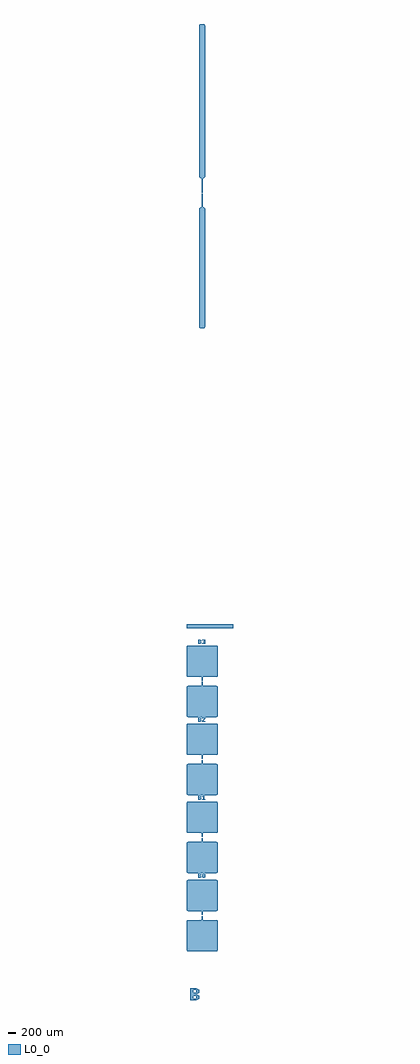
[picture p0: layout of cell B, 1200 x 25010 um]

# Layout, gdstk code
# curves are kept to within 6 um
import gdstk
lib = gdstk.Library(unit=1e-6, precision=1e-09)
def R(c, l, rs):  # rectangles x0, y0, x1, y1
    for r in rs: c.add(gdstk.rectangle(r[:2], r[2:], *l))
def P(c, l, *ps):  # polygons
    for p in ps: c.add(gdstk.Polygon(p, *l))
L0_0 = (0, 0)

c_b = lib.new_cell('B')
R(c_b, L0_0, [(400,9650,1600,9750)])
P(c_b, L0_0, [(500,120),(500,232.5),(575,232.5),(575,157.5),(650,157.5),(650,232.5),(500,232.5),(500,382.5),(575,382.5),(575,307.5),(650,307.5),(650,382.5),(500,382.5),(500,420),(650,420),(725,382.5),(725,307.5),(650,270),(725,232.5),(725,157.5),(650,120)],
  [(440,1370),(420,1375.359),(400,1410),(405.359,2150),(440,2170),(780,2171.34),(785,2270),(797.5,2270),(792.5,2260),(807.5,2260),(802.5,2270),(815,2270),(815,2180),(825,2170),(1180,2164.641),(1200,2130),(1194.641,1390),(1160,1370)],
  [(785,2300),(780,2398.66),(440,2400),(405.359,2420),(405.359,3180),(440,3200),(1180,3194.641),(1200,3160),(1194.641,2420),(1160,2400),(820,2398.66),(815,2300),(802.5,2300),(807.5,2310),(792.5,2310),(797.5,2300)],
  [(700,3250),(700,3287.5),(725,3287.5),(725,3262.5),(750,3262.5),(750,3287.5),(700,3287.5),(700,3337.5),(725,3337.5),(725,3312.5),(750,3312.5),(750,3337.5),(700,3337.5),(700,3350),(750,3350),(775,3337.5),(775,3312.5),(750,3300),(775,3287.5),(775,3262.5),(750,3250)],
  [(825,3250),(800,3262.5),(800,3337.5),(825,3337.5),(825,3268.75),(836.364,3331.25),(850,3331.25),(837.5,3262.5),(850,3262.5),(850,3331.25),(836.364,3331.25),(837.5,3337.5),(800,3337.5),(825,3350),(850,3350),(875,3337.5),(875,3262.5),(850,3250)],
  [(440,3370),(420,3375.359),(400,3410),(405.359,4150),(440,4170),(780,4171.34),(785,4270),(797.5,4270),(792.5,4260),(807.5,4260),(802.5,4270),(815,4270),(815,4180),(825,4170),(1180,4164.641),(1200,4130),(1194.641,3390),(1160,3370)],
  [(785,4300),(780,4398.66),(440,4400),(405.359,4420),(405.359,5180),(440,5200),(1180,5194.641),(1200,5160),(1194.641,4420),(1160,4400),(820,4398.66),(815,4300),(802.5,4300),(807.5,4310),(792.5,4310),(797.5,4300)],
  [(700,5250),(700,5287.5),(725,5287.5),(725,5262.5),(750,5262.5),(750,5287.5),(700,5287.5),(700,5337.5),(725,5337.5),(725,5312.5),(750,5312.5),(750,5337.5),(700,5337.5),(700,5350),(750,5350),(775,5337.5),(775,5312.5),(750,5300),(775,5287.5),(775,5262.5),(750,5250)],
  [(800,5250),(800,5262.5),(825,5262.5),(825,5325),(800,5325),(800,5337.5),(825,5350),(850,5350),(850,5262.5),(875,5262.5),(875,5250)],
  [(440,5370),(420,5375.359),(400,5410),(405.359,6150),(440,6170),(780,6171.34),(785,6270),(797.5,6270),(792.5,6260),(807.5,6260),(802.5,6270),(815,6270),(815,6180),(825,6170),(1180,6164.641),(1200,6130),(1194.641,5390),(1160,5370)],
  [(785,6300),(780,6398.66),(440,6400),(405.359,6420),(405.359,7180),(440,7200),(1180,7194.641),(1200,7160),(1194.641,6420),(1160,6400),(820,6398.66),(815,6300),(802.5,6300),(807.5,6310),(792.5,6310),(797.5,6300)],
  [(700,7250),(700,7287.5),(725,7287.5),(725,7262.5),(750,7262.5),(750,7287.5),(700,7287.5),(700,7337.5),(725,7337.5),(725,7312.5),(750,7312.5),(750,7337.5),(700,7337.5),(700,7350),(750,7350),(775,7337.5),(775,7312.5),(750,7300),(775,7287.5),(775,7262.5),(750,7250)],
  [(800,7250),(800,7275),(850,7325),(850,7337.5),(800,7337.5),(800,7350),(875,7350),(875,7325),(825,7275),(825,7262.5),(875,7262.5),(875,7250)],
  [(440,7370),(420,7375.359),(400,7410),(405.359,8150),(440,8170),(780,8171.34),(785,8270),(797.5,8270),(792.5,8260),(807.5,8260),(802.5,8270),(815,8270),(815,8180),(825,8170),(1180,8164.641),(1200,8130),(1194.641,7390),(1160,7370)],
  [(785,8300),(780,8398.66),(440,8400),(405.359,8420),(405.359,9180),(440,9200),(1180,9194.641),(1200,9160),(1194.641,8420),(1160,8400),(820,8398.66),(815,8300),(802.5,8300),(807.5,8310),(792.5,8310),(797.5,8300)],
  [(700,9250),(700,9287.5),(725,9287.5),(725,9262.5),(750,9262.5),(750,9287.5),(700,9287.5),(700,9337.5),(725,9337.5),(725,9312.5),(750,9312.5),(750,9337.5),(700,9337.5),(700,9350),(750,9350),(775,9337.5),(775,9312.5),(750,9300),(775,9287.5),(775,9262.5),(750,9250)],
  [(800,9250),(800,9262.5),(850,9262.5),(850,9293.75),(825,9293.75),(825,9306.25),(850,9306.25),(850,9337.5),(800,9337.5),(800,9350),(875,9350),(875,9250)],
  [(765,17330),(745,17335.359),(725,17370),(725,20390),(745,20424.641),(780,20431.34),(785,20440),(785,20780),(797.5,20780),(792.5,20770),(807.5,20770),(802.5,20780),(815,20780),(815,20440),(820,20431.34),(855,20424.641),(875,20390),(875,17370),(855,17335.359)],
  [(785,20810),(785,21170),(780,21178.66),(745,21185.359),(725,21220),(725,25090),(745,25124.641),(835,25130),(855,25124.641),(875,25090),(875,21220),(855,21185.359),(820,21178.66),(815,21170),(815,20810),(802.5,20810),(807.5,20820),(792.5,20820),(797.5,20810)])
c_b.add(gdstk.FlexPath([(775,2390),(775,2390)], 0, ends="flush", simple_path=True, layer=0, datatype=0))  # L0_0
c_b.add(gdstk.FlexPath([(800,5250),(800,5250)], 0, ends="flush", simple_path=True, layer=0, datatype=0))  # L0_0
c_b.add(gdstk.FlexPath([(440,6440),(440,6440)], 0, ends="flush", simple_path=True, layer=0, datatype=0))  # L0_0
c_b.add(gdstk.FlexPath([(800,7250),(800,7250)], 0, ends="flush", simple_path=True, layer=0, datatype=0))  # L0_0
c_b.add(gdstk.FlexPath([(440,8440),(440,8440)], 0, ends="flush", simple_path=True, layer=0, datatype=0))  # L0_0
c_b.add(gdstk.FlexPath([(800,9250),(800,9250)], 0, ends="flush", simple_path=True, layer=0, datatype=0))  # L0_0

lib.write_gds('B.gds')
